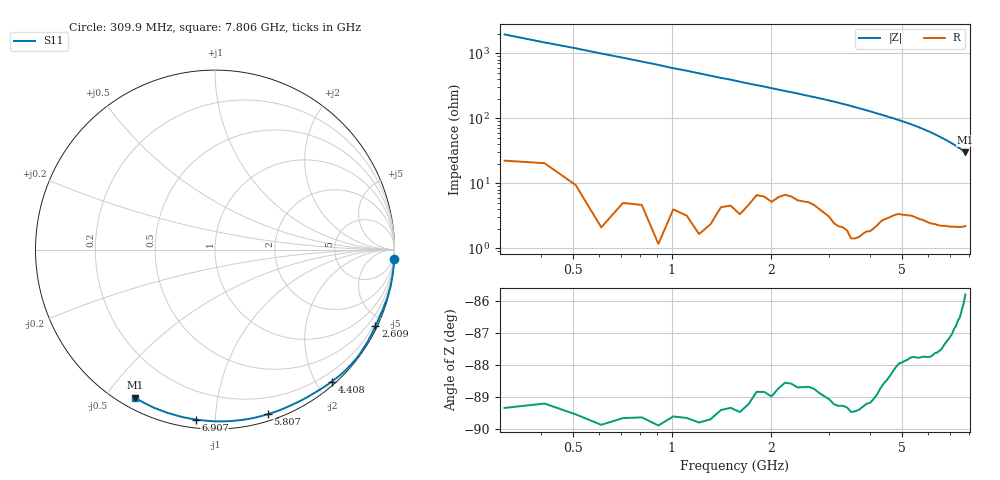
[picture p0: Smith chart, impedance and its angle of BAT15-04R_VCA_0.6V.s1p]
! Infineon Technologies  Discrete & RF Semiconductors
! BAT15-04R
! VCA = 0.6 V
! One-Port S-Parameters
# Hz  S  MA  R  50
!f  S11
!Hz  Mag  Ang
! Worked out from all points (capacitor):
!   76 points, 309.9 MHz to 7.806 GHz, reference 50 ohm
!   read as one part to ground: C = 262 fF near 309.9 MHz
!   lowest |Z| = 29.8 ohm at 7.806 GHz (marker M1)
!   S11 on the Smith chart (normalised r, x): 309.9 MHz: 0, -39; 2.609 GHz: 0.10, -4.42; 4.408 GHz: 0.06, -2.22; 5.807 GHz: 0.05, -1.37; 6.907 GHz: 0.04, -0.89; 7.806 GHz: 0.04, -0.59
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3.0985e8  0.9994 -2.9
9.0955e8  0.9997 -8.6
1.30935e9  0.9989 -12.6
1.6092e9  0.9976 -15.5
2.009e9  0.9941 -19.5
2.2089e9  0.9908 -21.5
2.6087e9  0.9902 -25.5
2.90855e9  0.9915 -28.6
3.2084e9  0.9934 -32.1
3.50825e9  0.9947 -35.8
3.70815e9  0.9935 -38.5
4.10795e9  0.9887 -44.1
4.4078e9  0.9816 -48.5
4.70765e9  0.975 -53.0
5.0075e9  0.9698 -57.8
5.30735e9  0.9659 -62.9
5.6072e9  0.9645 -68.4
5.8071e9  0.963 -72.2
6.007e9  0.9626 -76.3
6.2069e9  0.9611 -80.5
6.50675e9  0.9583 -87.3
6.70665e9  0.9555 -91.8
6.90655e9  0.9528 -96.5
7.10645e9  0.9503 -101.2
7.30635e9  0.9474 -106.0
7.50625e9  0.9446 -110.9
7.70615e9  0.9402 -115.9
7.8061e9  0.9373 -118.4
